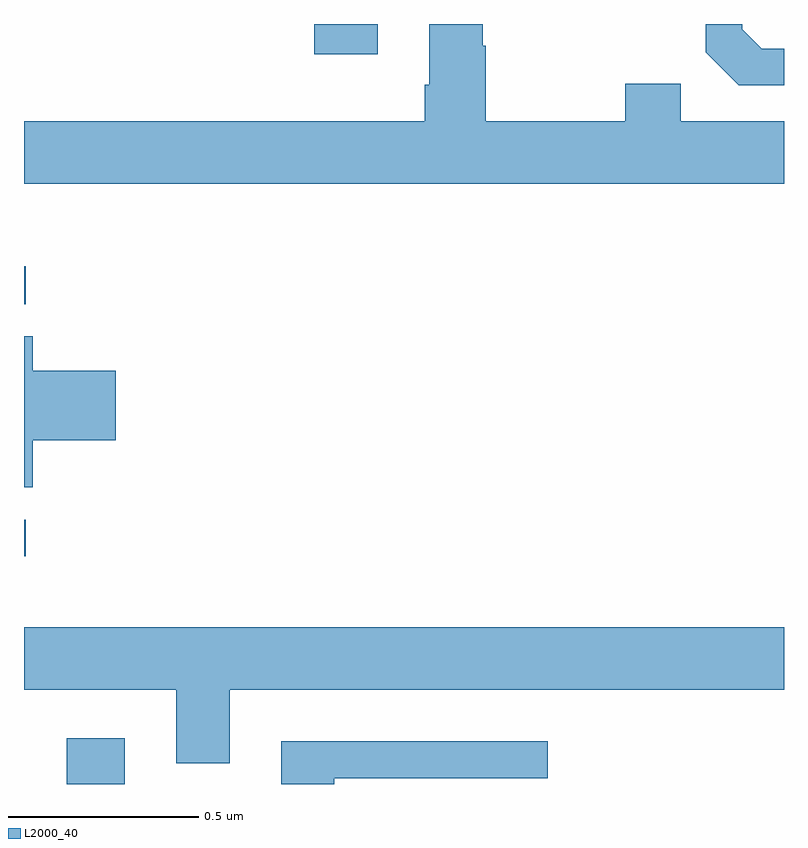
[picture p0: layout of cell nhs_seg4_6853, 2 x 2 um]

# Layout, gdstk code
import gdstk
lib = gdstk.Library(unit=1e-6, precision=1e-09)
def R(c, l, rs):  # rectangles x0, y0, x1, y1
    for r in rs: c.add(gdstk.rectangle(r[:2], r[2:], *l))
def P(c, l, *ps):  # polygons
    for p in ps: c.add(gdstk.Polygon(p, *l))
L2000_40 = (2000, 40)

nhs_seg4_6853 = lib.new_cell('nhs_seg4_6853')
R(nhs_seg4_6853, L2000_40, [(195.113,801.9,195.265,802.021), (195,802.5,195.004,802.596), (195,803.163,195.004,803.262), (195.764,803.82,195.931,803.9)])
P(nhs_seg4_6853, L2000_40, [(197,803.644),(196.728,803.644),(196.728,803.743),(196.582,803.743),(196.582,803.644),(196.215,803.644),(196.215,803.843),(196.207,803.843),(196.207,803.9),(196.067,803.9),(196.067,803.74),(196.055,803.74),(196.055,803.644),(195,803.644),(195,803.48),(197,803.48)],
  [(197,803.835),(196.941,803.835),(196.89,803.886),(196.89,803.9),(196.794,803.9),(196.794,803.826),(196.881,803.739),(197,803.739)],
  [(195.023,802.805),(195.241,802.805),(195.241,802.988),(195.023,802.988),(195.023,803.078),(195,803.078),(195,802.681),(195.023,802.681)],
  [(195.541,802.148),(197,802.148),(197,802.312),(195,802.312),(195,802.148),(195.401,802.148),(195.401,801.954),(195.541,801.954)],
  [(195.817,801.915),(196.378,801.915),(196.378,802.012),(195.677,802.012),(195.677,801.9),(195.817,801.9)])

lib.write_gds('nhs_seg4_6853.gds')
